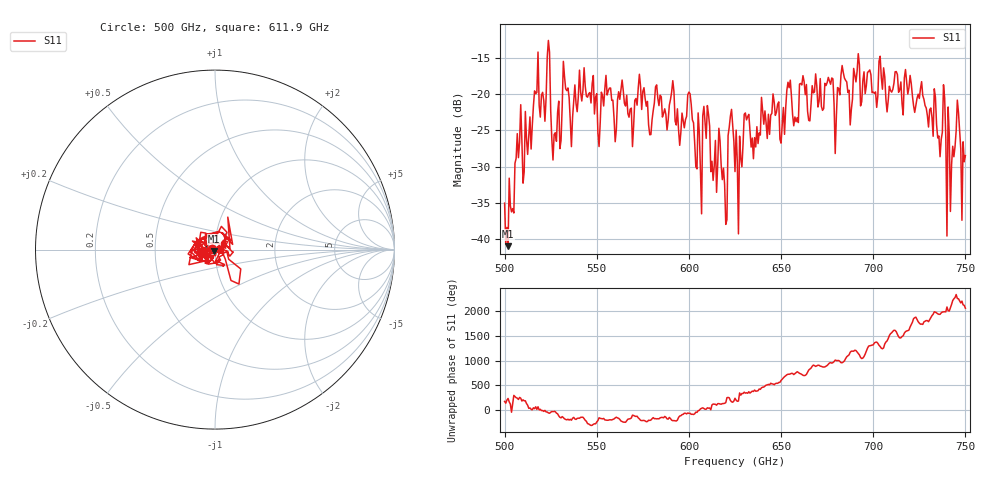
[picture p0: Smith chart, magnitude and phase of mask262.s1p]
!Created with skrf (http://scikit-rf.org).
# GHz S MA R 50.0
!freq magS11 angS11
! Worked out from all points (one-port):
!   401 points, 500 GHz to 750 GHz, reference 50 ohm
!   lowest |S11| = -41.0 dB at 501.9 GHz (marker M1), VSWR 1.02, Z = 49.5 - j0.735 ohm
!   |S11| at or under -10 dB: start of sweep to end of sweep
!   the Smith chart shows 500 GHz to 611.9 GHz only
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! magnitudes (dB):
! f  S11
! 500 GHz  -35.0
! 501.9 GHz  -41.0
! 507.5 GHz  -28.8
! 511.2 GHz  -22.4
! 516.9 GHz  -20.0
! 523.8 GHz  -12.6
! 526.9 GHz  -25.6
! 531.2 GHz  -21.7
! 562.5 GHz  -20.7
! 590.6 GHz  -19.7
! 593.8 GHz  -22.0
! 600.6 GHz  -20.0
! 605.6 GHz  -25.3
! 609.4 GHz  -26.1
! 619.4 GHz  -32.5
! 622.5 GHz  -23.1
! 625 GHz  -30.7
! 656.2 GHz  -22.9
! 676.9 GHz  -18.7
! 680 GHz  -23.1
! 683.8 GHz  -17.0
! 687.5 GHz  -24.3
! 691.2 GHz  -16.9
! 718.8 GHz  -20.0
! 738.1 GHz  -18.7
! 741.2 GHz  -25.6
! 745.6 GHz  -20.8
! 750 GHz  -28.5
